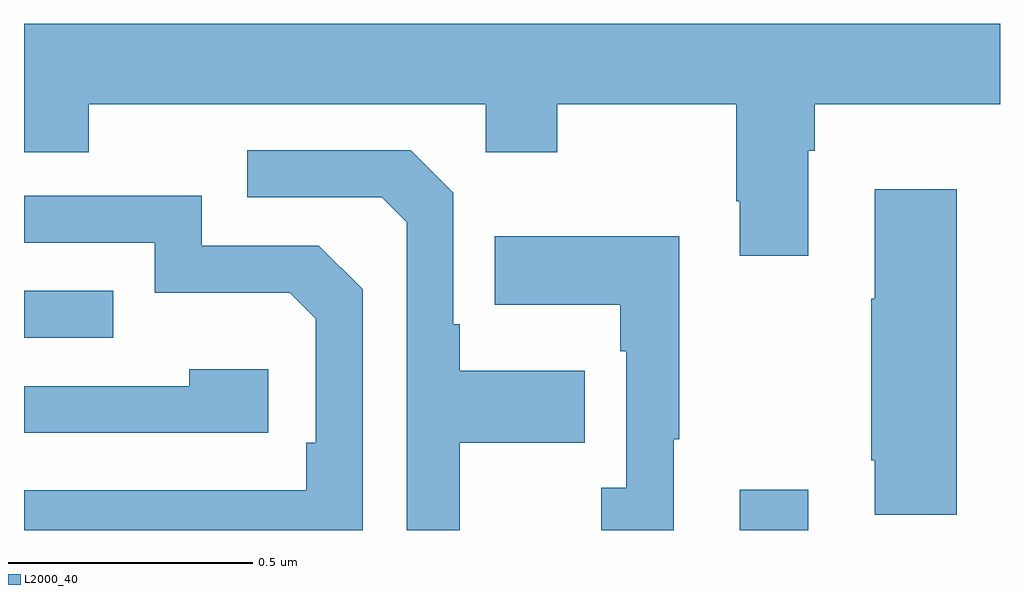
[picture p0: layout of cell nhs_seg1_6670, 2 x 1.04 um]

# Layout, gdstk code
import gdstk
lib = gdstk.Library(unit=1e-6, precision=1e-09)
def R(c, l, rs):  # rectangles x0, y0, x1, y1
    for r in rs: c.add(gdstk.rectangle(r[:2], r[2:], *l))
def P(c, l, *ps):  # polygons
    for p in ps: c.add(gdstk.Polygon(p, *l))
L2000_40 = (2000, 40)

nhs_seg1_6670 = lib.new_cell('nhs_seg1_6670')
R(nhs_seg1_6670, L2000_40, [(195.467,544.199,195.607,544.282), (194,544.593,194.183,544.689)])
P(nhs_seg1_6670, L2000_40, [(195.607,544.976),(195.62,544.976),(195.62,545.072),(196,545.072),(196,545.236),(194,545.236),(194,544.973),(194.133,544.973),(194.133,545.072),(194.946,545.072),(194.946,544.973),(195.093,544.973),(195.093,545.072),(195.46,545.072),(195.46,544.873),(195.467,544.873),(195.467,544.761),(195.607,544.761)],
  [(194.893,544.378),(195.149,544.378),(195.149,544.525),(194.893,544.525),(194.893,544.621),(194.88,544.621),(194.88,544.89),(194.793,544.977),(194.457,544.977),(194.457,544.881),(194.733,544.881),(194.784,544.83),(194.784,544.199),(194.893,544.199)],
  [(195.911,544.897),(195.743,544.897),(195.743,544.673),(195.736,544.673),(195.736,544.342),(195.743,544.342),(195.743,544.23),(195.911,544.23)],
  [(194.694,544.692),(194.604,544.782),(194.364,544.782),(194.364,544.884),(194,544.884),(194,544.788),(194.268,544.788),(194.268,544.685),(194.545,544.685),(194.598,544.632),(194.598,544.378),(194.578,544.378),(194.578,544.281),(194,544.281),(194,544.199),(194.694,544.199)],
  [(195.331,544.385),(195.343,544.385),(195.343,544.801),(194.965,544.801),(194.965,544.661),(195.222,544.661),(195.222,544.565),(195.234,544.565),(195.234,544.286),(195.183,544.286),(195.183,544.199),(195.331,544.199)],
  [(194.5,544.528),(194.339,544.528),(194.339,544.494),(194,544.494),(194,544.398),(194.5,544.398)])

lib.write_gds('nhs_seg1_6670.gds')
